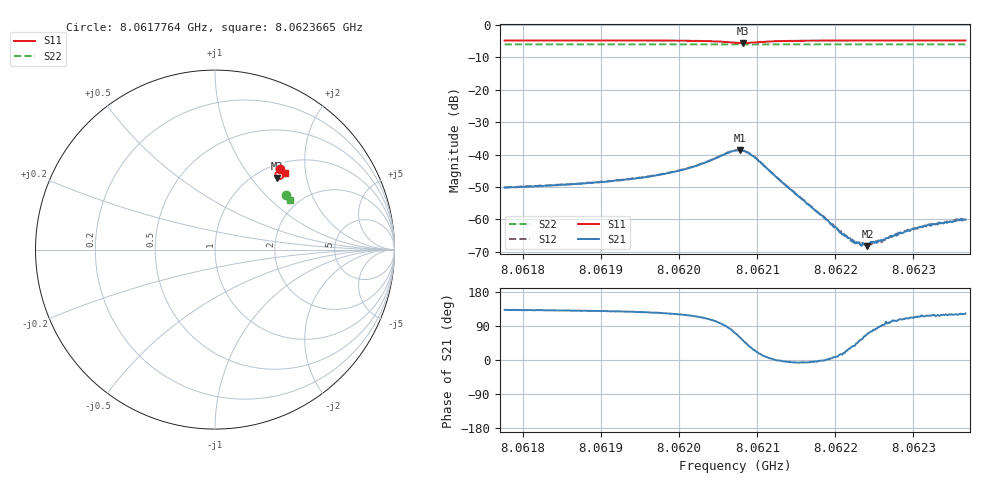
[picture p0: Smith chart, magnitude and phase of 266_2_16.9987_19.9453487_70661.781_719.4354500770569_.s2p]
#  HZ  S  RI  R  50.00
! Rohde & Schwarz Vector Network Analyzer
! Rohde-Schwarz,ZNB20-2Port,1311601062101988,3.16
! Created: UTC 3/20/2024, 11:03:59 PM
! freq[Hz]  re:S11  im:S11  re:S21  im:S21  re:S12  im:S12  re:S22  im:S22
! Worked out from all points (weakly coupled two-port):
!   401 points, 8.0617764 GHz to 8.0623665 GHz, reference 50 ohm
!   highest |S21| = -38.60 dB at 8.0620774 GHz (marker M1); lowest = -68.2 dB at 8.0622411 GHz (marker M2)
!   lowest |S11| = -5.6 dB at 8.0620818 GHz (marker M3), VSWR 3.22, Z = 61.3 + j67.6 ohm
!   |S11| at or under -10 dB: nowhere
!   |S22| runs from -6.0 to -6.0 dB; largest |S21 - S12| = 0.00082
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8.06177641e9  0.3625 0.4474  -0.00207 0.0023  -0.00198 0.00244  0.3972 0.3068
8.06187526e9  0.3696 0.4412  -0.00228 0.00276  -0.00216 0.00289  0.4006 0.3017
8.06192542e9  0.3736 0.4371  -0.00249 0.00318  -0.00232 0.00335  0.4024 0.2993
8.0619741e9  0.378 0.4315  -0.00274 0.00402  -0.00254 0.00421  0.4043 0.2966
8.06201689e9  0.382 0.422  -0.00288 0.00576  -0.00253 0.00599  0.4057 0.2941
8.06207148e9  0.3594 0.3925  0.00375 0.0109  0.00434 0.0108  0.4061 0.2907
8.06207738e9  0.3498 0.3944  0.00577 0.0102  0.00641 0.00991  0.4059 0.2906
8.0620818e9  0.3433 0.3987  0.00713 0.00889  0.00762 0.00858  0.4058 0.2906
8.06208918e9  0.3369 0.409  0.00842 0.00631  0.00874 0.0059  0.4059 0.2909
8.06209803e9  0.3365 0.4219  0.00814 0.00342  0.00836 0.00291  0.4063 0.291
8.06213344e9  0.356 0.4392  0.0036 -0.00023  0.00364 -0.00043  0.4087 0.2898
8.06217032e9  0.3673 0.4384  0.00151 -0.000113  0.00153 -0.000267  0.4103 0.288
8.06220868e9  0.3738 0.4358  0.000567 0.00014  0.000571 0.000157  0.4118 0.2858
8.06222196e9  0.3754 0.435  0.000364 0.00027  0.00042 0.000251  0.4122 0.285
8.06223081e9  0.3764 0.4343  0.000269 0.000332  0.000328 0.000299  0.4127 0.2845
8.06224114e9  0.3776 0.4337  0.000138 0.000362  0.000172 0.000355  0.413 0.284
8.06226179e9  0.3796 0.4324  -1.97e-05 0.000487  -9.86e-06 0.000487  0.4136 0.283
8.06226917e9  0.3803 0.432  -6.8e-05 0.000524  -3.72e-05 0.00054  0.4139 0.2826
8.0622913e9  0.3822 0.4306  -0.000226 0.000624  -0.000181 0.000634  0.4147 0.2813
8.06231785e9  0.3841 0.4289  -0.000375 0.000736  -0.000319 0.000723  0.4156 0.2801
8.06235474e9  0.3869 0.427  -0.000497 0.000819  -0.000488 0.000885  0.4168 0.2779
8.06236654e9  0.3876 0.4263  -0.000537 0.00084  -0.00047 0.000895  0.4172 0.2775
